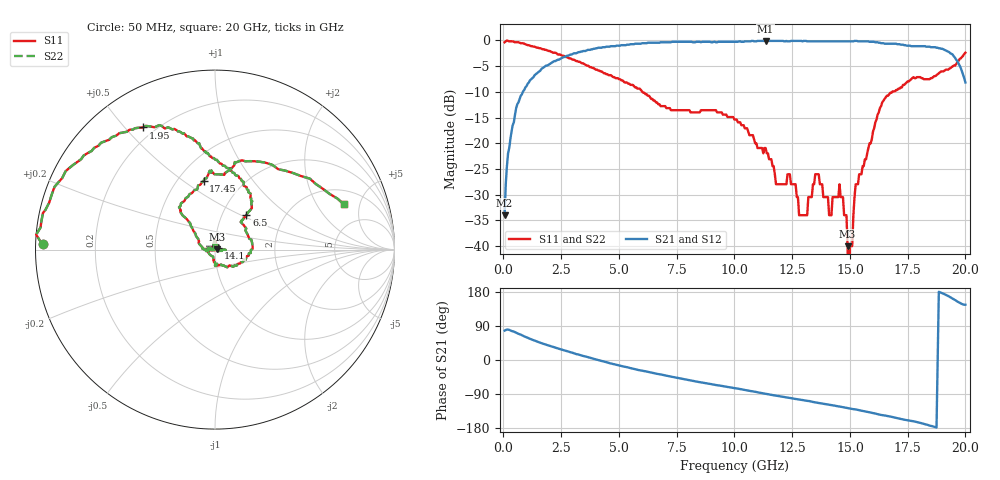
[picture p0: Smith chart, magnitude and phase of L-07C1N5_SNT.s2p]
#	mhz	s	ma	r	50
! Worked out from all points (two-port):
!   400 points, 50 MHz to 20 GHz, reference 50 ohm
!   highest |S21| = -0.09 dB at 11.35 GHz (marker M1); lowest = -34.0 dB at 50 MHz (marker M2)
!   |S21| within 3 dB of the highest: 2.704 GHz to 19.5 GHz (16.79 GHz wide, 151 % of centre)
!   lowest |S11| = -40.0 dB at 14.9 GHz (marker M3), VSWR 1.02, Z = 51 + j0.191 ohm
!   |S11| at or under -10 dB: 6.019 GHz to 16.83 GHz (10.81 GHz wide, 94.6 % of centre)
!   |S22| runs from - to 0.0 dB; largest |S21 - S12| = 0
!   S11 on the Smith chart (normalised r, x): 50 MHz: 0.02, +0.01; 1.95 GHz: 0.15, +0.56; 6.5 GHz: 1.30, +0.54; 14.1 GHz: 1.03, +0.02; 17.45 GHz: 0.66, +0.60; 20 GHz: 2.94, +3.51
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50  0.96 178.3  0.02 77.6  0.02 77.6  0.96 178.3
550  0.96 161.4  0.22 72.1  0.22 72.1  0.96 161.4
1950  0.79 120.5  0.58 38.4  0.58 38.4  0.79 120.5
3400  0.6 99.2  0.78 11.5  0.78 11.5  0.6 99.2
6500  0.26 47.7  0.95 -34.4  0.95 -34.4  0.26 47.7
6700  0.24 47.7  0.95 -37.0  0.95 -37.0  0.24 47.7
10050  0.17 -22.1  0.97 -74.6  0.97 -74.6  0.17 -22.1
11350  0.09 -90.1  0.99 -89.2  0.99 -89.2  0.09 -90.1
12800  0.02 153.6  0.99 -104.4  0.99 -104.4  0.02 153.6
13350  0.03 104.4  0.98 -110.1  0.98 -110.1  0.03 104.4
14100  0.02 32.2  0.98 -117.9  0.98 -117.9  0.02 32.2
14550  0.04 -10.3  0.98 -122.7  0.98 -122.7  0.04 -10.3
14900  0.01 10.8  0.98 -126.9  0.98 -126.9  0.01 10.8
14950  0 16.5  0.98 -127.5  0.98 -127.5  0 16.5
15000  0.01 91.1  0.98 -128.1  0.98 -128.1  0.01 91.1
15250  0.04 -176.0  0.99 -130.5  0.99 -130.5  0.04 -176.0
16700  0.3 130.6  0.93 -148.7  0.93 -148.7  0.3 130.6
17450  0.39 99.3  0.89 -158.5  0.89 -158.5  0.39 99.3
18750  0.46 78.7  0.85 -178.4  0.85 -178.4  0.46 78.7
18800  0.47 77.9  0.85 0.7  0.85 0.7  0.47 77.9
18850  0.48 77.2  0.84 179.9  0.84 179.9  0.48 77.2
20000  0.76 19.4  0.39 145.8  0.39 145.8  0.76 19.4
